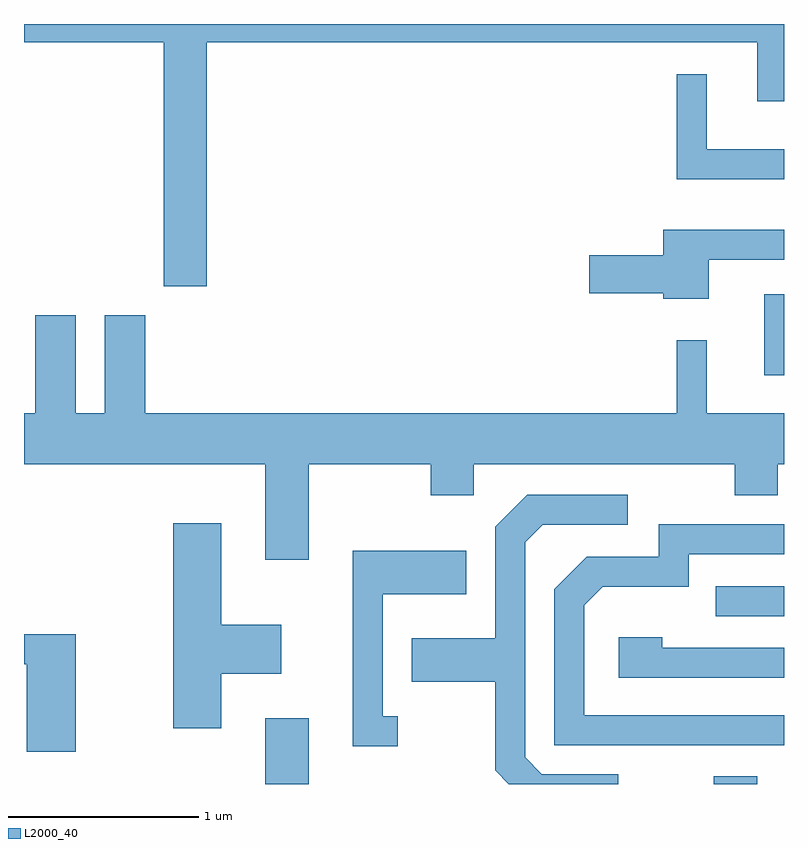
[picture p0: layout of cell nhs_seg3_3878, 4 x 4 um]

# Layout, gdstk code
import gdstk
lib = gdstk.Library(unit=1e-6, precision=1e-09)
def R(c, l, rs):  # rectangles x0, y0, x1, y1
    for r in rs: c.add(gdstk.rectangle(r[:2], r[2:], *l))
def P(c, l, *ps):  # polygons
    for p in ps: c.add(gdstk.Polygon(p, *l))
L2000_40 = (2000, 40)

nhs_seg3_3878 = lib.new_cell('nhs_seg3_3878')
R(nhs_seg3_3878, L2000_40, [(300.881,1119.892,301.109,1120.239), (303.241,1119.892,303.469,1119.934), (303.253,1120.776,303.611,1120.934), (303.506,1122.043,303.611,1122.469)])
P(nhs_seg3_3878, L2000_40, [(300.574,1123.796),(303.471,1123.796),(303.471,1123.486),(303.611,1123.486),(303.611,1123.892),(299.611,1123.892),(299.611,1123.796),(300.346,1123.796),(300.346,1122.511),(300.574,1122.511)],
  [(303.611,1123.234),(303.204,1123.234),(303.204,1123.628),(303.046,1123.628),(303.046,1123.076),(303.611,1123.076)],
  [(303.214,1122.651),(303.611,1122.651),(303.611,1122.809),(302.976,1122.809),(302.976,1122.674),(302.586,1122.674),(302.586,1122.476),(302.976,1122.476),(302.976,1122.446),(303.214,1122.446)],
  [(301.109,1121.576),(301.751,1121.576),(301.751,1121.411),(301.979,1121.411),(301.979,1121.576),(303.351,1121.576),(303.351,1121.411),(303.579,1121.411),(303.579,1121.576),(303.611,1121.576),(303.611,1121.844),(303.204,1121.844),(303.204,1122.228),(303.046,1122.228),(303.046,1121.844),(300.249,1121.844),(300.249,1122.359),(300.036,1122.359),(300.036,1121.844),(299.884,1121.844),(299.884,1122.359),(299.671,1122.359),(299.671,1121.844),(299.611,1121.844),(299.611,1121.576),(300.881,1121.576),(300.881,1121.071),(301.109,1121.071)],
  [(302.738,1119.944),(302.337,1119.944),(302.249,1120.032),(302.249,1121.164),(302.342,1121.256),(302.788,1121.256),(302.788,1121.414),(302.259,1121.414),(302.091,1121.247),(302.091,1120.659),(301.651,1120.659),(301.651,1120.431),(302.091,1120.431),(302.091,1119.964),(302.163,1119.892),(302.738,1119.892)],
  [(300.649,1120.471),(300.964,1120.471),(300.964,1120.729),(300.649,1120.729),(300.649,1121.264),(300.396,1121.264),(300.396,1120.186),(300.649,1120.186)],
  [(303.611,1120.254),(302.559,1120.254),(302.559,1120.834),(302.657,1120.931),(303.109,1120.931),(303.109,1121.101),(303.611,1121.101),(303.611,1121.259),(302.951,1121.259),(302.951,1121.089),(302.574,1121.089),(302.401,1120.917),(302.401,1120.096),(303.611,1120.096)],
  [(301.578,1120.249),(301.499,1120.249),(301.499,1120.891),(301.939,1120.891),(301.939,1121.119),(301.341,1121.119),(301.341,1120.091),(301.578,1120.091)],
  [(299.884,1120.679),(299.611,1120.679),(299.611,1120.521),(299.626,1120.521),(299.626,1120.061),(299.884,1120.061)],
  [(303.611,1120.609),(302.969,1120.609),(302.969,1120.664),(302.741,1120.664),(302.741,1120.451),(303.611,1120.451)])

lib.write_gds('nhs_seg3_3878.gds')
